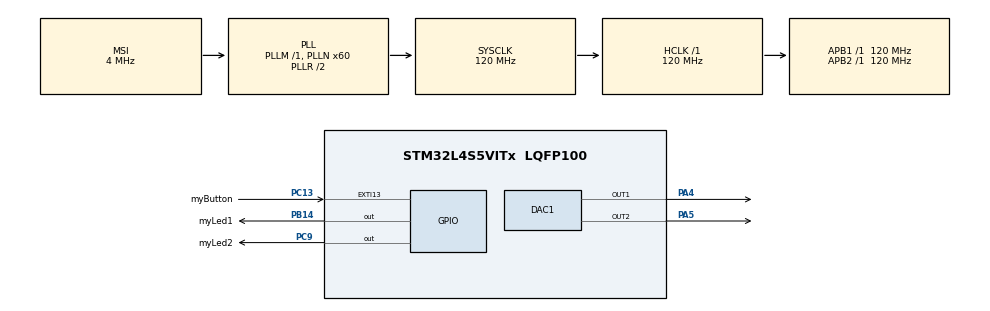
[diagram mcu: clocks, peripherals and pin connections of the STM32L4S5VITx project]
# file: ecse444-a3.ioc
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DAC1.DAC_Channel-DAC_OUT2=DAC_CHANNEL_2
DAC1.DAC_SampleAndHold-DAC_OUT2=DAC_SAMPLEANDHOLD_DISABLE
DAC1.DAC_Trigger-DAC_OUT1=DAC_TRIGGER_T2_TRGO
DAC1.DAC_Trigger-DAC_OUT2=DAC_TRIGGER_NONE
Dma.DAC1_CH1.0.Direction=DMA_MEMORY_TO_PERIPH
Dma.DAC1_CH1.0.EventEnable=DISABLE
Dma.DAC1_CH1.0.Instance=DMA1_Channel3
Dma.DAC1_CH1.0.MemDataAlignment=DMA_MDATAALIGN_HALFWORD
Dma.DAC1_CH1.0.MemInc=DMA_MINC_ENABLE
Dma.DAC1_CH1.0.Mode=DMA_CIRCULAR
Dma.DAC1_CH1.0.PeriphDataAlignment=DMA_PDATAALIGN_HALFWORD
Dma.DAC1_CH1.0.PeriphInc=DMA_PINC_DISABLE
Dma.DAC1_CH1.0.Polarity=HAL_DMAMUX_REQUEST_GEN_RISING
Dma.DAC1_CH1.0.Priority=DMA_PRIORITY_LOW
Dma.DAC1_CH1.0.RequestNumber=1
Dma.DAC1_CH1.0.SignalID=NONE
Dma.DAC1_CH1.0.SyncEnable=DISABLE
Dma.DAC1_CH1.0.SyncPolarity=HAL_DMAMUX_SYNC_NO_EVENT
Dma.DAC1_CH1.0.SyncRequestNumber=1
Dma.DAC1_CH1.0.SyncSignalID=NONE
Dma.Request0=DAC1_CH1
Mcu.Family=STM32L4
Mcu.Name=STM32L4S5VITx
Mcu.Package=LQFP100
NVIC.DMA1_Channel3_IRQn=true\:0\:0\:false\:false\:true\:false\:true\:true
NVIC.EXTI15_10_IRQn=true\:0\:0\:false\:false\:true\:true\:true\:true
NVIC.PriorityGroup=NVIC_PRIORITYGROUP_4
NVIC.TIM2_IRQn=true\:0\:0\:false\:false\:true\:true\:true\:true
PA4.Signal=COMP_DAC11_group
PA5.Signal=COMP_DAC12_group
PB14.GPIO_Label=myLed1
PB14.Signal=GPIO_Output
PC13.GPIO_Label=myButton
PC13.Signal=GPXTI13
PC9.GPIO_Label=myLed2
PC9.GPIO_PuPd=GPIO_NOPULL
PC9.Signal=GPIO_Output
ProjectManager.HeapSize=0x200
ProjectManager.StackSize=0x400
ProjectManager.TargetToolchain=STM32CubeIDE
RCC.ADCFreq_Value=48000000
RCC.AHBFreq_Value=120000000
RCC.APB1Freq_Value=120000000
RCC.APB1TimFreq_Value=120000000
RCC.APB2Freq_Value=120000000
RCC.APB2TimFreq_Value=120000000
RCC.CortexFreq_Value=120000000
RCC.HCLKFreq_Value=120000000
RCC.HSE_VALUE=8000000
RCC.HSI48_VALUE=48000000
RCC.HSI_VALUE=16000000
RCC.LSE_VALUE=32768
RCC.MSI_VALUE=4000000
RCC.PLLN=60
RCC.PLLSAI1N=24
RCC.SYSCLKFreq_VALUE=120000000
RCC.SYSCLKSource=RCC_SYSCLKSOURCE_PLLCLK
RCC.USBFreq_Value=48000000
RCC.VCOOutputFreq_Value=240000000
SH.COMP_DAC11_group.0=DAC1_OUT1,DAC_OUT1
SH.COMP_DAC12_group.0=DAC1_OUT2,DAC_OUT2
TIM2.TIM_MasterOutputTrigger=TIM_TRGO_UPDATE
VP_TIM2_VS_ClockSourceINT.Mode=Internal
board=B-L4S5I-IOT01A

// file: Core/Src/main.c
/* USER CODE BEGIN Header */
/**
  ******************************************************************************
  * @file           : main.c
  * @brief          : Main program body
  ******************************************************************************
  * @attention
  *
  * Copyright (c) 2024 STMicroelectronics.
  * All rights reserved.
  *
  * This software is licensed under terms that can be found in the LICENSE file
  * in the root directory of this software component.
  * If no LICENSE file comes with this software, it is provided AS-IS.
  *
  ******************************************************************************
  */
/* USER CODE END Header */
#include "main.h"

/* USER CODE BEGIN Includes */
#include "arm_math.h"
/* USER CODE END Includes */

/* USER CODE BEGIN PD */
#define SAMPLE_NUMBER 60
#define AMPLITUDE 4095 // design choice 12 bit DAC resolution
/* USER CODE END PD */

DAC_HandleTypeDef hdac1;
DMA_HandleTypeDef hdma_dac1_ch1;

TIM_HandleTypeDef htim2;

/* USER CODE BEGIN PV */
void generateSaw(uint16_t *sampleArray);
void generateTriangle(uint16_t *sampleArray);
void generateSin(float32_t *sampleArray);
void HAL_GPIO_EXTI_Callback (uint16_t GPIO_Pin);
void HAL_TIM_PeriodElapsedCallback(TIM_HandleTypeDef * htim);

/* USER CODE END PV */

void SystemClock_Config(void);
static void MX_GPIO_Init(void);
static void MX_DMA_Init(void);
static void MX_DAC1_Init(void);
static void MX_TIM2_Init(void);

/* USER CODE BEGIN 0 */
uint32_t channel1, channel2;
uint32_t mode; // controls mode of output
uint8_t currSample; // counter for samples in timer
float32_t sinSamples[SAMPLE_NUMBER];

/* USER CODE END 0 */

int main(void)
{

  /* MCU Configuration--------------------------------------------------------*/

  /* Reset of all peripherals, Initializes the Flash interface and the Systick. */
  HAL_Init();

  /* USER CODE BEGIN Init */
  mode = 0;
  currSample = 0;
  channel1 = 0;

  /* USER CODE END Init */

  /* Configure the system clock */
  SystemClock_Config();

  /* Initialize all configured peripherals */
  MX_GPIO_Init();
  MX_DMA_Init();
  MX_DAC1_Init();
  MX_TIM2_Init();
  /* USER CODE BEGIN 2 */
  HAL_TIM_Base_Start_IT(&htim2); // enable interrupts
  generateSin(sinSamples);
  HAL_DAC_Start(&hdac1, DAC_CHANNEL_1);

  /* USER CODE END 2 */

  /* Infinite loop */
  while (1)
  {

    /* USER CODE BEGIN 3 */
  }

  HAL_DAC_Stop(&hdac1, DAC_CHANNEL_1);

  /* USER CODE END 3 */
}

void SystemClock_Config(void)
{
  RCC_OscInitTypeDef RCC_OscInitStruct = {0};
  RCC_ClkInitTypeDef RCC_ClkInitStruct = {0};

  /** Configure the main internal regulator output voltage
  */
  if (HAL_PWREx_ControlVoltageScaling(PWR_REGULATOR_VOLTAGE_SCALE1_BOOST) != HAL_OK)
  {
    Error_Handler();
  }

  /** Initializes the RCC Oscillators according to the specified parameters
  * in the RCC_OscInitTypeDef structure.
  */
  RCC_OscInitStruct.OscillatorType = RCC_OSCILLATORTYPE_MSI;
  RCC_OscInitStruct.MSIState = RCC_MSI_ON;
  RCC_OscInitStruct.MSICalibrationValue = 0;
  RCC_OscInitStruct.MSIClockRange = RCC_MSIRANGE_6;
  RCC_OscInitStruct.PLL.PLLState = RCC_PLL_ON;
  RCC_OscInitStruct.PLL.PLLSource = RCC_PLLSOURCE_MSI;
  RCC_OscInitStruct.PLL.PLLM = 1;
  RCC_OscInitStruct.PLL.PLLN = 60;
  RCC_OscInitStruct.PLL.PLLP = RCC_PLLP_DIV2;
  RCC_OscInitStruct.PLL.PLLQ = RCC_PLLQ_DIV2;
  RCC_OscInitStruct.PLL.PLLR = RCC_PLLR_DIV2;
  if (HAL_RCC_OscConfig(&RCC_OscInitStruct) != HAL_OK)
  {
    Error_Handler();
  }

  /** Initializes the CPU, AHB and APB buses clocks
  */
  RCC_ClkInitStruct.ClockType = RCC_CLOCKTYPE_HCLK|RCC_CLOCKTYPE_SYSCLK
                              |RCC_CLOCKTYPE_PCLK1|RCC_CLOCKTYPE_PCLK2;
  RCC_ClkInitStruct.SYSCLKSource = RCC_SYSCLKSOURCE_PLLCLK;
  RCC_ClkInitStruct.AHBCLKDivider = RCC_SYSCLK_DIV1;
  RCC_ClkInitStruct.APB1CLKDivider = RCC_HCLK_DIV1;
  RCC_ClkInitStruct.APB2CLKDivider = RCC_HCLK_DIV1;

  if (HAL_RCC_ClockConfig(&RCC_ClkInitStruct, FLASH_LATENCY_5) != HAL_OK)
  {
    Error_Handler();
  }
}

static void MX_DAC1_Init(void)
{

  DAC_ChannelConfTypeDef sConfig = {0};

  /** DAC Initialization
  */
  hdac1.Instance = DAC1;
  if (HAL_DAC_Init(&hdac1) != HAL_OK)
  {
    Error_Handler();
  }

  /** DAC channel OUT1 config
  */
  sConfig.DAC_SampleAndHold = DAC_SAMPLEANDHOLD_DISABLE;
  sConfig.DAC_Trigger = DAC_TRIGGER_NONE;
  sConfig.DAC_HighFrequency = DAC_HIGH_FREQUENCY_INTERFACE_MODE_ABOVE_80MHZ;
  sConfig.DAC_OutputBuffer = DAC_OUTPUTBUFFER_ENABLE;
  sConfig.DAC_ConnectOnChipPeripheral = DAC_CHIPCONNECT_DISABLE;
  sConfig.DAC_UserTrimming = DAC_TRIMMING_FACTORY;
  if (HAL_DAC_ConfigChannel(&hdac1, &sConfig, DAC_CHANNEL_1) != HAL_OK)
  {
    Error_Handler();
  }

  /** DAC channel OUT2 config
  */
  if (HAL_DAC_ConfigChannel(&hdac1, &sConfig, DAC_CHANNEL_2) != HAL_OK)
  {
    Error_Handler();
  }

}

static void MX_TIM2_Init(void)
{

  TIM_ClockConfigTypeDef sClockSourceConfig = {0};
  TIM_MasterConfigTypeDef sMasterConfig = {0};

  htim2.Instance = TIM2;
  htim2.Init.Prescaler = 0;
  htim2.Init.CounterMode = TIM_COUNTERMODE_UP;
  htim2.Init.Period = 2000;
  htim2.Init.ClockDivision = TIM_CLOCKDIVISION_DIV1;
  htim2.Init.AutoReloadPreload = TIM_AUTORELOAD_PRELOAD_DISABLE;
  if (HAL_TIM_Base_Init(&htim2) != HAL_OK)
  {
    Error_Handler();
  }
  sClockSourceConfig.ClockSource = TIM_CLOCKSOURCE_INTERNAL;
  if (HAL_TIM_ConfigClockSource(&htim2, &sClockSourceConfig) != HAL_OK)
  {
    Error_Handler();
  }
  sMasterConfig.MasterOutputTrigger = TIM_TRGO_UPDATE;
  sMasterConfig.MasterSlaveMode = TIM_MASTERSLAVEMODE_DISABLE;
  if (HAL_TIMEx_MasterConfigSynchronization(&htim2, &sMasterConfig) != HAL_OK)
  {
    Error_Handler();
  }

}

static void MX_DMA_Init(void)
{

  /* DMA controller clock enable */
  __HAL_RCC_DMAMUX1_CLK_ENABLE();
  __HAL_RCC_DMA1_CLK_ENABLE();

  /* DMA interrupt init */
  /* DMA1_Channel3_IRQn interrupt configuration */
  HAL_NVIC_SetPriority(DMA1_Channel3_IRQn, 0, 0);
  HAL_NVIC_EnableIRQ(DMA1_Channel3_IRQn);

}

static void MX_GPIO_Init(void)
{
  GPIO_InitTypeDef GPIO_InitStruct = {0};

  /* GPIO Ports Clock Enable */
  __HAL_RCC_GPIOC_CLK_ENABLE();
  __HAL_RCC_GPIOA_CLK_ENABLE();
  __HAL_RCC_GPIOB_CLK_ENABLE();

  /*Configure GPIO pin Output Level */
  HAL_GPIO_WritePin(myLed1_GPIO_Port, myLed1_Pin, GPIO_PIN_RESET);

  /*Configure GPIO pin Output Level */
  HAL_GPIO_WritePin(myLed2_GPIO_Port, myLed2_Pin, GPIO_PIN_RESET);

  /*Configure GPIO pin : myButton_Pin */
  GPIO_InitStruct.Pin = myButton_Pin;
  GPIO_InitStruct.Mode = GPIO_MODE_IT_RISING;
  GPIO_InitStruct.Pull = GPIO_NOPULL;
  HAL_GPIO_Init(myButton_GPIO_Port, &GPIO_InitStruct);

  /*Configure GPIO pin : myLed1_Pin */
  GPIO_InitStruct.Pin = myLed1_Pin;
  GPIO_InitStruct.Mode = GPIO_MODE_OUTPUT_PP;
  GPIO_InitStruct.Pull = GPIO_NOPULL;
  GPIO_InitStruct.Speed = GPIO_SPEED_FREQ_LOW;
  HAL_GPIO_Init(myLed1_GPIO_Port, &GPIO_InitStruct);

  /*Configure GPIO pin : myLed2_Pin */
  GPIO_InitStruct.Pin = myLed2_Pin;
  GPIO_InitStruct.Mode = GPIO_MODE_OUTPUT_PP;
  GPIO_InitStruct.Pull = GPIO_NOPULL;
  GPIO_InitStruct.Speed = GPIO_SPEED_FREQ_LOW;
  HAL_GPIO_Init(myLed2_GPIO_Port, &GPIO_InitStruct);

  /* EXTI interrupt init*/
  HAL_NVIC_SetPriority(EXTI15_10_IRQn, 0, 0);
  HAL_NVIC_EnableIRQ(EXTI15_10_IRQn);

}

/* USER CODE BEGIN 4 */

void HAL_TIM_PeriodElapsedCallback(TIM_HandleTypeDef * htim) {
	if (htim == &htim2) {
		if (currSample == SAMPLE_NUMBER)
		{
			currSample = 0;
		}
		channel1 = sinSamples[currSample];
		HAL_DAC_SetValue(&hdac1, DAC_CHANNEL_1, DAC_ALIGN_12B_R, sinSamples[currSample]); // D7
		currSample++;

	}
}

void HAL_GPIO_EXTI_Callback (uint16_t GPIO_Pin) {
	if (GPIO_Pin == myButton_Pin) {
		mode = ((mode+1) % 4);
		HAL_GPIO_WritePin(myLed2_GPIO_Port, myLed2_Pin, GPIO_PIN_RESET); // mode 0 (only blue)
		HAL_GPIO_WritePin(myLed1_GPIO_Port, myLed1_Pin, GPIO_PIN_RESET);
		if (mode == 1) { // blue and green
			HAL_GPIO_WritePin(myLed1_GPIO_Port, myLed1_Pin, GPIO_PIN_SET);
		}
		if (mode == 2) { // only yellow
			HAL_GPIO_WritePin(myLed2_GPIO_Port, myLed2_Pin, GPIO_PIN_SET);

		}
		if (mode == 3) { // yellow and green
			HAL_GPIO_WritePin(myLed2_GPIO_Port, myLed2_Pin, GPIO_PIN_SET);
			HAL_GPIO_WritePin(myLed1_GPIO_Port, myLed1_Pin, GPIO_PIN_SET);

		}

	}
}

// we set amplitude to 20 to avoid dealing with floats
void generateSaw(uint16_t *sampleArray) {
	for (int i = 0; i <  SAMPLE_NUMBER; i++) {
    sampleArray[i] = AMPLITUDE*((i + 0.0)/ SAMPLE_NUMBER);
  }
}

void generateTriangle(uint16_t *sampleArray) {
    // Generate the rising part of the triangle
    for (int i = 0; i < SAMPLE_NUMBER / 2; i++) {
        sampleArray[i] = AMPLITUDE * ((i + 0.0) / (SAMPLE_NUMBER / 2));
    }

    // Generate the falling part of the triangle
    for (int i = SAMPLE_NUMBER / 2; i < SAMPLE_NUMBER; i++) {
        sampleArray[i] = AMPLITUDE * (1.0 - ((i - SAMPLE_NUMBER / 2 + 0.0) / (SAMPLE_NUMBER / 2)));
    }
}

void generateSin(float32_t *sampleArray) {
	uint32_t amp = AMPLITUDE/2;
	float32_t counter = 0.0;
	for (int i = 0; i <  SAMPLE_NUMBER; i++) {
	    sampleArray[i] = (amp * arm_sin_f32(counter)) + amp; //https://arm-software.github.io/CMSIS-DSP/main/group__sin.html
	    counter += (2.0*PI)/(SAMPLE_NUMBER+0.0);
	}
}
/* USER CODE END 4 */

void Error_Handler(void)
{
  __disable_irq();
  while (1)
  {
  }
}
